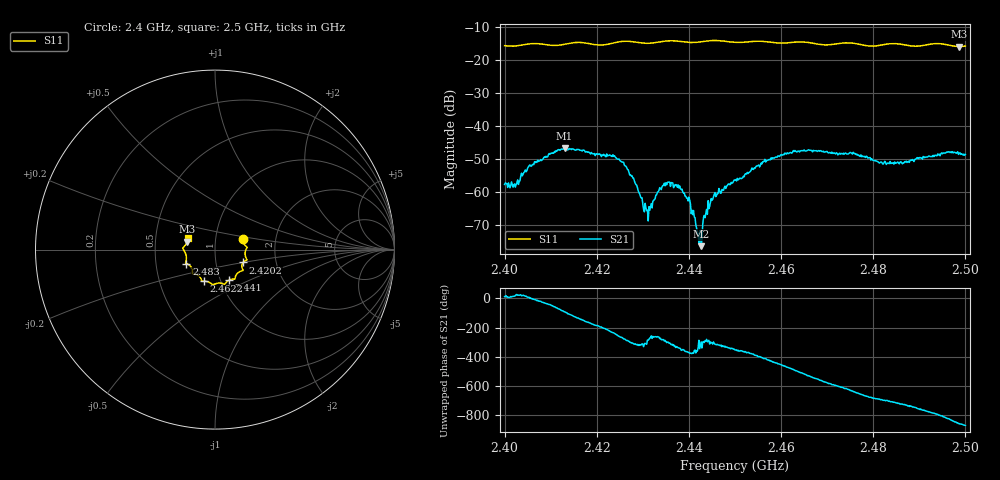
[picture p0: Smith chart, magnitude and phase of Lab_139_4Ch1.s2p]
# Hz S RI R 50
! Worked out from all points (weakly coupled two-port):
!   601 points, 2.4 GHz to 2.5 GHz, reference 50 ohm
!   highest |S21| = -46.61 dB at 2.413 GHz (marker M1); lowest = -76.3 dB at 2.4427 GHz (marker M2)
!   lowest |S11| = -15.8 dB at 2.4987 GHz (marker M3), VSWR 1.39, Z = 36.4 + j3.29 ohm
!   |S11| at or under -10 dB: start of sweep to end of sweep
!   S12 and S22 are empty: the file has one direction only
!   S11 on the Smith chart (normalised r, x): 2.4 GHz: 1.36, +0.17; 2.4202 GHz: 1.35, -0.20; 2.441 GHz: 1.10, -0.39; 2.4622 GHz: 0.83, -0.30; 2.483 GHz: 0.72, -0.12; 2.5 GHz: 0.73, +0.09
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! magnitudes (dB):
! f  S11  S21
! 2.4 GHz  -15.5  -57.6
! 2.4022 GHz  -15.6  -57.4
! 2.4055 GHz  -15.0  -51.7
! 2.413 GHz  -15.1  -46.6
! 2.4167 GHz  -14.6  -47.3
! 2.4202 GHz  -15.3  -48.5
! 2.426 GHz  -14.2  -51.8
! 2.4307 GHz  -14.8  -64.7
! 2.4333 GHz  -14.5  -59.8
! 2.4375 GHz  -14.1  -58.5
! 2.4398 GHz  -14.5  -62.6
! 2.441 GHz  -14.6  -65.5
! 2.4422 GHz  -14.4  -75.2
! 2.4427 GHz  -14.3  -76.3
! 2.4452 GHz  -14.0  -62.1
! 2.45 GHz  -14.5  -56.3
! 2.4622 GHz  -14.6  -48.0
! 2.4667 GHz  -14.7  -47.3
! 2.483 GHz  -15.0  -51.2
! 2.4833 GHz  -15.0  -51.2
! 2.4987 GHz  -15.8  -48.2
! 2.5 GHz  -15.6  -48.5
